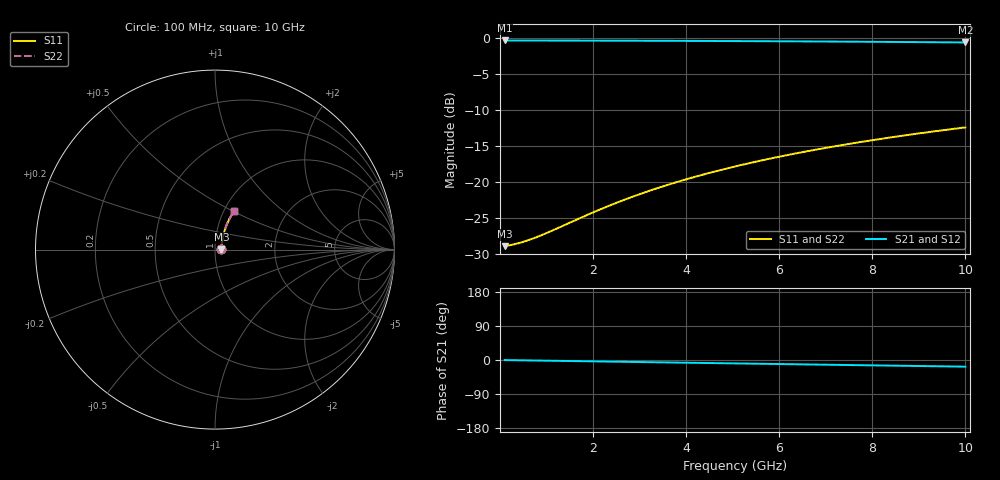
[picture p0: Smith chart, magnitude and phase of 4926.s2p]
# Hz S RI R 50.00
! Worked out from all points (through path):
!   100 points, 100 MHz to 10 GHz, reference 50 ohm
!   highest |S21| = -0.32 dB at 100 MHz (marker M1); lowest = -0.6 dB at 10 GHz (marker M2)
!   group delay of S21, straight-line fit = 4.89 ps
!   lowest |S11| = -28.9 dB at 100 MHz (marker M3), VSWR 1.07, Z = 53.7 + j0.253 ohm
!   |S11| at or under -10 dB: start of sweep to end of sweep
!   |S22| runs from -28.9 to -12.4 dB; largest |S21 - S12| = 0
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1e8  0.0359 0.00235  0.9641 -0.00302  0.9641 -0.00302  0.0359 0.00235
3e8  0.0363 0.00704  0.9636 -0.00904  0.9636 -0.00904  0.0363 0.00704
4e8  0.0365 0.00938  0.9635 -0.012  0.9635 -0.012  0.0365 0.00938
5e8  0.0367 0.0117  0.9633 -0.0151  0.9633 -0.0151  0.0367 0.0117
7e8  0.0371 0.0164  0.9629 -0.0211  0.9629 -0.0211  0.0371 0.0164
9e8  0.0375 0.0211  0.9625 -0.0271  0.9625 -0.0271  0.0375 0.0211
1.1e9  0.0379 0.0257  0.9621 -0.0331  0.9621 -0.0331  0.0379 0.0257
1.8e9  0.0397 0.042  0.9602 -0.054  0.9602 -0.054  0.0397 0.042
2.2e9  0.0411 0.0512  0.9588 -0.0659  0.9588 -0.0659  0.0411 0.0512
2.6e9  0.0426 0.0604  0.9572 -0.0778  0.9572 -0.0778  0.0426 0.0604
3e9  0.0443 0.0696  0.9554 -0.0896  0.9554 -0.0896  0.0443 0.0696
3.4e9  0.0463 0.0787  0.9534 -0.1014  0.9534 -0.1014  0.0463 0.0787
3.8e9  0.0485 0.0877  0.9512 -0.1131  0.9512 -0.1131  0.0485 0.0877
4.2e9  0.0509 0.0967  0.9487 -0.1247  0.9487 -0.1247  0.0509 0.0967
4.6e9  0.0534 0.1055  0.946 -0.1363  0.946 -0.1363  0.0534 0.1055
5.1e9  0.057 0.1165  0.9424 -0.1506  0.9424 -0.1506  0.057 0.1165
5.9e9  0.0633 0.1338  0.9359 -0.1732  0.9359 -0.1732  0.0633 0.1338
6.7e9  0.0704 0.1506  0.9285 -0.1954  0.9285 -0.1954  0.0704 0.1506
7.5e9  0.0783 0.167  0.9204 -0.2172  0.9204 -0.2172  0.0783 0.167
8.4e9  0.088 0.1848  0.9103 -0.241  0.9103 -0.241  0.088 0.1848
9.2e9  0.0974 0.2001  0.9006 -0.2617  0.9006 -0.2617  0.0974 0.2001
1e10  0.1074 0.2148  0.8902 -0.2818  0.8902 -0.2818  0.1074 0.2148
